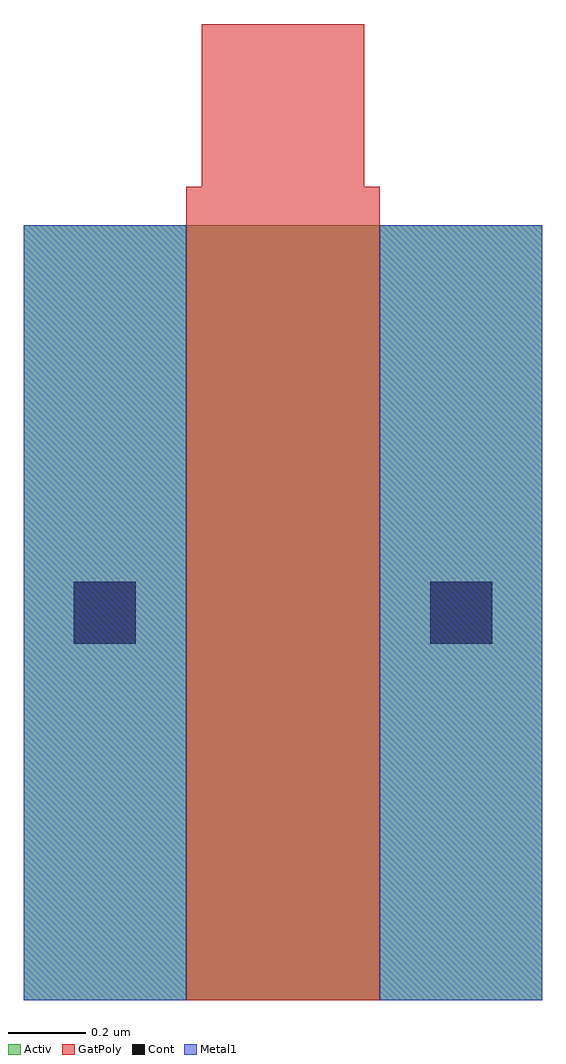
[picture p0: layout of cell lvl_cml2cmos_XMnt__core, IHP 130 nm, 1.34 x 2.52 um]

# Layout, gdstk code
import gdstk
lib = gdstk.Library(unit=1e-6, precision=1e-09)
def R(c, l, rs):  # rectangles x0, y0, x1, y1
    for r in rs: c.add(gdstk.rectangle(r[:2], r[2:], *l))
Activ = (1, 0)
GatPoly = (5, 0)
Cont = (6, 0)
Metal1 = (8, 0)

lvl_cml2cmos_xmnt__core = lib.new_cell('lvl_cml2cmos_XMnt__core')
R(lvl_cml2cmos_xmnt__core, Activ, [(0,0,1.34,2)])
R(lvl_cml2cmos_xmnt__core, GatPoly, [(0.42,0,0.92,2), (0.42,2,0.92,2.1), (0.46,2.1,0.88,2.52)])
R(lvl_cml2cmos_xmnt__core, Cont, [(0.13,0.92,0.29,1.08), (1.05,0.92,1.21,1.08)])
R(lvl_cml2cmos_xmnt__core, Metal1, [(0,0,0.42,2), (0.92,0,1.34,2)])

lib.write_gds('lvl_cml2cmos_XMnt__core.gds')
